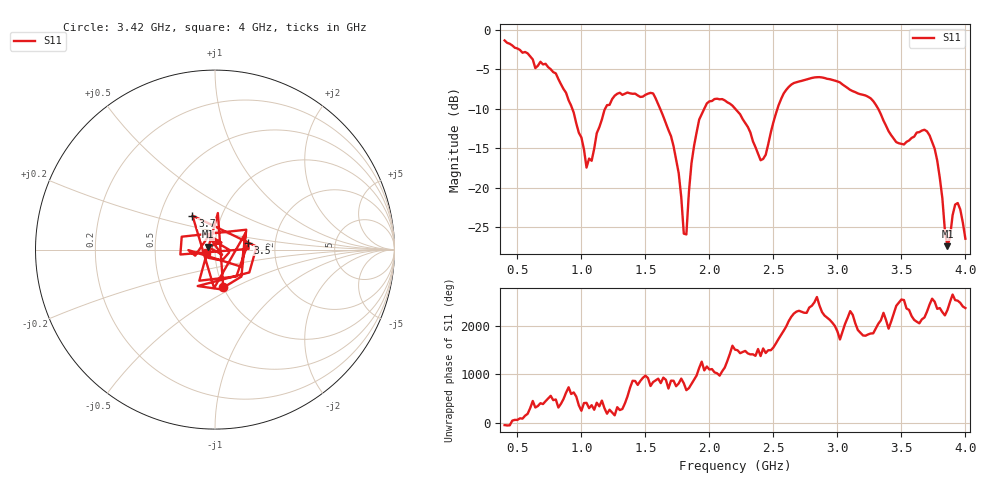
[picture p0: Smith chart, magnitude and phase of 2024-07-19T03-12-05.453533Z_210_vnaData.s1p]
!Created with skrf (http://scikit-rf.org).
# Hz S RI R 50.0
!freq ReS11 ImS11
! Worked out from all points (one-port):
!   181 points, 400 MHz to 4 GHz, reference 50 ohm
!   lowest |S11| = -27.4 dB at 3.86 GHz (marker M1), VSWR 1.09, Z = 46.2 + j1.48 ohm
!   |S11| at or under -10 dB: 1.615 GHz to 1.96 GHz (345.5 MHz wide, 19.3 % of centre); 2.201 GHz to 2.532 GHz (330.8 MHz wide, 14 % of centre); 3.318 GHz to end of sweep (the widest 3 of 4)
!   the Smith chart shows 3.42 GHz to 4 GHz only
!   S11 on the Smith chart (normalised r, x): 3.42 GHz: 1.00, -0.44; 3.5 GHz: 1.45, +0.12; 3.7 GHz: 0.73, +0.29; 4 GHz: 0.91, -0.02
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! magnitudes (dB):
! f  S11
! 400 MHz  -1.4
! 860 MHz  -7.5
! 1 GHz  -13.6
! 1.04 GHz  -17.5
! 1.18 GHz  -10.2
! 1.3 GHz  -8.0
! 1.56 GHz  -8.1
! 1.7 GHz  -13.5
! 1.76 GHz  -18.2
! 1.8 GHz  -25.8
! 1.82 GHz  -25.9
! 1.86 GHz  -16.9
! 1.92 GHz  -11.4
! 2.04 GHz  -8.8
! 2.2 GHz  -10.0
! 2.4 GHz  -16.5
! 2.56 GHz  -8.8
! 2.66 GHz  -6.8
! 3.1 GHz  -7.6
! 3.28 GHz  -9.0
! 3.42 GHz  -13.4
! 3.5 GHz  -14.5
! 3.56 GHz  -14.0
! 3.7 GHz  -12.9
! 3.78 GHz  -16.6
! 3.86 GHz  -27.4
! 3.94 GHz  -22.0
! 4 GHz  -26.5
